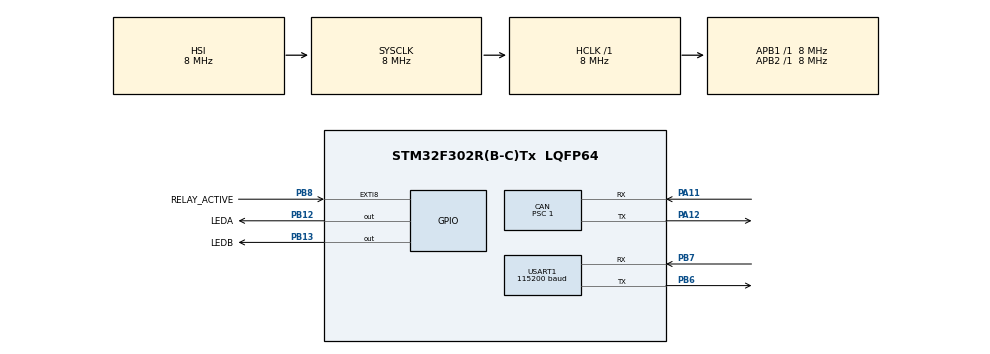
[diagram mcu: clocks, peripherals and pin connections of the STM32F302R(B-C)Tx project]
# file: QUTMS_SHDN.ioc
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CAN.BS1=CAN_BS1_13TQ
CAN.BS2=CAN_BS2_2TQ
CAN.CalculateTimeQuantum=125.0
CAN.Prescaler=1
FREERTOS.Tasks01=defaultTask,24,128,StartDefaultTask,Default,NULL,Dynamic,NULL,NULL
FREERTOS.configTIMER_TASK_PRIORITY=50
FREERTOS.configTOTAL_HEAP_SIZE=4096
Mcu.Family=STM32F3
Mcu.Name=STM32F302R(B-C)Tx
Mcu.Package=LQFP64
NVIC.CAN_RX1_IRQn=true\:3\:0\:true\:false\:true\:false\:true\:true
NVIC.EXTI9_5_IRQn=true\:3\:0\:true\:false\:true\:false\:true\:true
NVIC.PriorityGroup=NVIC_PRIORITYGROUP_4
NVIC.TIM6_DAC_IRQn=true\:0\:0\:false\:false\:true\:false\:false\:true
NVIC.TimeBase=TIM6_DAC_IRQn
NVIC.TimeBaseIP=TIM6
PA11.GPIO_PuPd=GPIO_PULLUP
PA11.Mode=Master
PA11.Signal=CAN_RX
PA12.Mode=Master
PA12.Signal=CAN_TX
PA13.Mode=JTAG_4_pins
PA13.Signal=SYS_JTMS-SWDIO
PA14.Mode=JTAG_4_pins
PA14.Signal=SYS_JTCK-SWCLK
PA15.Mode=JTAG_4_pins
PA15.Signal=SYS_JTDI
PB12.GPIO_Label=LEDA
PB12.Signal=GPIO_Output
PB13.GPIO_Label=LEDB
PB13.Signal=GPIO_Output
PB3.Mode=JTAG_4_pins
PB3.Signal=SYS_JTDO-TRACESWO
PB6.Mode=Asynchronous
PB6.Signal=USART1_TX
PB7.Mode=Asynchronous
PB7.Signal=USART1_RX
PB8.GPIO_Label=RELAY_ACTIVE
PB8.GPIO_ModeDefaultEXTI=GPIO_MODE_IT_FALLING
PB8.Signal=GPXTI8
ProjectManager.HeapSize=0x200
ProjectManager.StackSize=0x400
ProjectManager.TargetToolchain=STM32CubeIDE
RCC.AHBFreq_Value=8000000
RCC.APB1Freq_Value=8000000
RCC.APB2Freq_Value=8000000
RCC.CortexFreq_Value=8000000
RCC.HSE_VALUE=8000000
RCC.HSI_VALUE=8000000
RCC.LSE_VALUE=32768
RCC.SYSCLKFreq_VALUE=8000000
USART1.BaudRate=115200
USART1.VirtualMode-Asynchronous=VM_ASYNC
VP_FREERTOS_VS_CMSIS_V2.Mode=CMSIS_V2
VP_SYS_VS_tim6.Mode=TIM6
board=custom

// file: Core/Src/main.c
/* USER CODE BEGIN Header */
/**
 ******************************************************************************
 * @file           : main.c
 * @brief          : Main program body
 ******************************************************************************
 * @attention
 *
 * <h2><center>&copy; Copyright (c) 2020 STMicroelectronics.
 * All rights reserved.</center></h2>
 *
 * This software component is licensed by ST under BSD 3-Clause license,
 * the "License"; You may not use this file except in compliance with the
 * License. You may obtain a copy of the License at:
 *                        opensource.org/licenses/BSD-3-Clause
 *
 ******************************************************************************
 */
/* USER CODE END Header */
#include "main.h"
#include "cmsis_os.h"
#include "can.h"
#include "usart.h"
#include "gpio.h"

/* USER CODE BEGIN Includes */
#include "SHDN_FSM_States.h"
/* USER CODE END Includes */

void SystemClock_Config(void);
void MX_FREERTOS_Init(void);

/* USER CODE BEGIN 0 */
osThreadId_t fsmThread;
const osThreadAttr_t fsmThreadAttr = {
		.stack_size = 2048
};
/* USER CODE END 0 */

int main(void)
{

  /* MCU Configuration--------------------------------------------------------*/

  /* Reset of all peripherals, Initializes the Flash interface and the Systick. */
  HAL_Init();

  /* Configure the system clock */
  SystemClock_Config();

  /* Initialize all configured peripherals */
  MX_GPIO_Init();
  MX_USART1_UART_Init();
  MX_CAN_Init();
  /* USER CODE BEGIN 2 */
	if (HAL_CAN_Start(&CANBUS2) != HAL_OK)
	{
		Error_Handler();
	}

	/** Create CAN Filter & Apply it to &CANBUS4, &CANBUS2 */
	CAN_FilterTypeDef  sFilterConfig;

	sFilterConfig.FilterBank = 0;
	sFilterConfig.FilterMode = CAN_FILTERMODE_IDMASK;
	sFilterConfig.FilterScale = CAN_FILTERSCALE_32BIT;
	sFilterConfig.FilterIdHigh = 0x0000;
	sFilterConfig.FilterIdLow = 0x0000;
	sFilterConfig.FilterMaskIdHigh = 0x0000;
	sFilterConfig.FilterMaskIdLow = 0x0000;
	sFilterConfig.FilterFIFOAssignment = CAN_RX_FIFO0;
	sFilterConfig.FilterActivation = ENABLE;
	sFilterConfig.SlaveStartFilterBank = 14;

	if (HAL_CAN_ConfigFilter(&CANBUS2, &sFilterConfig) != HAL_OK)
	{
		/* Filter configuration Error */
		Error_Handler();
	}

	//Create FSM instance
	fsm_t *fsm = fsm_new(&deadState);

	// Create a new thread, where our FSM will run.
	osThreadNew(fsm_thread_mainLoop, fsm, &fsmThreadAttr);
  /* USER CODE END 2 */

  /* Init scheduler */
  osKernelInitialize();  /* Call init function for freertos objects (in freertos.c) */
  MX_FREERTOS_Init();
  /* Start scheduler */
  osKernelStart();

  /* We should never get here as control is now taken by the scheduler */
  /* Infinite loop */
	while (1)
	{

	}
}

void SystemClock_Config(void)
{
  RCC_OscInitTypeDef RCC_OscInitStruct = {0};
  RCC_ClkInitTypeDef RCC_ClkInitStruct = {0};
  RCC_PeriphCLKInitTypeDef PeriphClkInit = {0};

  /** Initializes the RCC Oscillators according to the specified parameters
  * in the RCC_OscInitTypeDef structure.
  */
  RCC_OscInitStruct.OscillatorType = RCC_OSCILLATORTYPE_HSI;
  RCC_OscInitStruct.HSIState = RCC_HSI_ON;
  RCC_OscInitStruct.HSICalibrationValue = RCC_HSICALIBRATION_DEFAULT;
  RCC_OscInitStruct.PLL.PLLState = RCC_PLL_NONE;
  if (HAL_RCC_OscConfig(&RCC_OscInitStruct) != HAL_OK)
  {
    Error_Handler();
  }
  /** Initializes the CPU, AHB and APB buses clocks
  */
  RCC_ClkInitStruct.ClockType = RCC_CLOCKTYPE_HCLK|RCC_CLOCKTYPE_SYSCLK
                              |RCC_CLOCKTYPE_PCLK1|RCC_CLOCKTYPE_PCLK2;
  RCC_ClkInitStruct.SYSCLKSource = RCC_SYSCLKSOURCE_HSI;
  RCC_ClkInitStruct.AHBCLKDivider = RCC_SYSCLK_DIV1;
  RCC_ClkInitStruct.APB1CLKDivider = RCC_HCLK_DIV1;
  RCC_ClkInitStruct.APB2CLKDivider = RCC_HCLK_DIV1;

  if (HAL_RCC_ClockConfig(&RCC_ClkInitStruct, FLASH_LATENCY_0) != HAL_OK)
  {
    Error_Handler();
  }
  PeriphClkInit.PeriphClockSelection = RCC_PERIPHCLK_USART1;
  PeriphClkInit.Usart1ClockSelection = RCC_USART1CLKSOURCE_PCLK2;
  if (HAL_RCCEx_PeriphCLKConfig(&PeriphClkInit) != HAL_OK)
  {
    Error_Handler();
  }
}

/* USER CODE BEGIN 4 */
void heartbeatTimer_cb(void *fsm)
{
	// Take the GlobalState sem, find our values then fire off the packet
	if(osSemaphoreAcquire(SHDN_GlobalState->sem, SEM_ACQUIRE_TIMEOUT) == osOK) {
		SHDN_HeartbeatResponse_t canPacket = Compose_SHDN_One_HeartbeatResponse(SHDN_GlobalState->segmentStates);

		CAN_TxHeaderTypeDef header =
		{
			.ExtId = canPacket.id,
			.IDE = CAN_ID_EXT,
			.RTR = CAN_RTR_DATA,
			.DLC = sizeof(canPacket.data),
			.TransmitGlobalTime = DISABLE,
		};

		HAL_CAN_AddTxMessage(&CANBUS2, &header, &canPacket.data, &SHDN_GlobalState->CAN2_TxMailbox);
		osSemaphoreRelease(SHDN_GlobalState->sem);
	}
}

/**
 * @brief Log Info to UART
 * @param msg pointer to msg
 * @param length lenth of msg
 */
void SHDN_LogInfo(char* msg, size_t length)
{
	HAL_UART_Transmit(&huart1, (uint8_t *)msg, length, HAL_MAX_DELAY);
}

/**
 * @brief FSM thread main loop task for RTOS
 * @param fsm the FSM object passed to the loop
 */
__NO_RETURN void fsm_thread_mainLoop(void *fsm)
{
	fsm_setLogFunction(fsm, &SHDN_LogInfo);

	// Set our FSM in State, as we are just starting
	fsm_reset(fsm, &runState);

	for(;;)
	{
		while(HAL_CAN_GetRxFifoFillLevel(&CANBUS2, CAN_RX_FIFO0) > 0)
		{
			CAN_MSG_Generic_t msg;
			HAL_CAN_GetRxMessage(&CANBUS2, CAN_RX_FIFO0, &(msg.header), msg.data);
			osMessageQueuePut(SHDN_GlobalState->CANQueue, &msg, 0U, 0U);
		}

		fsm_iterate(fsm);
	}
}

/* USER CODE END 4 */

void HAL_TIM_PeriodElapsedCallback(TIM_HandleTypeDef *htim)
{
  if (htim->Instance == TIM6) {
    HAL_IncTick();
  }
}

void Error_Handler(void)
{
  /* USER CODE BEGIN Error_Handler_Debug */
	/* User can add his own implementation to report the HAL error return state */
	for(;;)
	{
		HAL_GPIO_WritePin(LEDA_GPIO_Port, LEDA_Pin, GPIO_PIN_SET);
	}
  /* USER CODE END Error_Handler_Debug */
}

/************************ (C) COPYRIGHT STMicroelectronics *****END OF FILE****/
